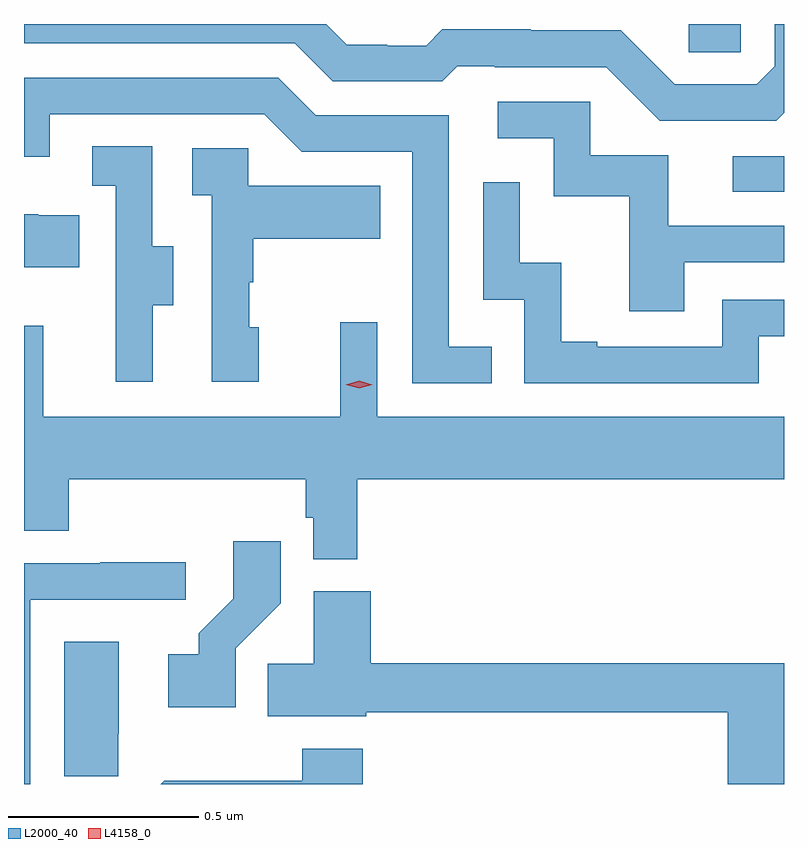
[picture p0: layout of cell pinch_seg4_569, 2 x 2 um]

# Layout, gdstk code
import gdstk
lib = gdstk.Library(unit=1e-6, precision=1e-09)
def R(c, l, rs):  # rectangles x0, y0, x1, y1
    for r in rs: c.add(gdstk.rectangle(r[:2], r[2:], *l))
def P(c, l, *ps):  # polygons
    for p in ps: c.add(gdstk.Polygon(p, *l))
L2000_40 = (2000, 40)
L4158_0 = (4158, 0)

pinch_seg4_569 = lib.new_cell('pinch_seg4_569')
R(pinch_seg4_569, L2000_40, [(1105.737,788.253,1105.872,788.346), (1105.621,788.62,1105.758,788.694)])
P(pinch_seg4_569, L2000_40, [(1105.872,788.46),(1105.872,788.694),(1105.848,788.694),(1105.848,788.583),(1105.8,788.535),(1105.584,788.535),(1105.442,788.677),(1105.206,788.677),(1105.206,788.68),(1104.973,788.68),(1104.931,788.637),(1104.828,788.637),(1104.828,788.64),(1104.721,788.64),(1104.667,788.694),(1103.872,788.694),(1103.872,788.643),(1104.585,788.643),(1104.684,788.544),(1104.973,788.544),(1105.012,788.583),(1105.111,788.583),(1105.111,788.58),(1105.404,788.58),(1105.545,788.439),(1105.851,788.439)],
  [(1105.103,787.845),(1104.99,787.845),(1104.99,788.454),(1104.64,788.454),(1104.541,788.553),(1103.872,788.553),(1103.872,788.345),(1103.94,788.345),(1103.94,788.457),(1104.504,788.457),(1104.603,788.358),(1104.894,788.358),(1104.894,787.749),(1105.103,787.749)],
  [(1105.609,788.067),(1105.872,788.067),(1105.872,788.163),(1105.567,788.163),(1105.567,788.349),(1105.362,788.349),(1105.362,788.49),(1105.119,788.49),(1105.119,788.394),(1105.266,788.394),(1105.266,788.241),(1105.465,788.241),(1105.465,787.938),(1105.609,787.938)],
  [(1104.211,787.954),(1104.265,787.954),(1104.265,788.109),(1104.21,788.109),(1104.21,788.372),(1104.051,788.372),(1104.051,788.269),(1104.114,788.269),(1104.114,787.965),(1104.113,787.965),(1104.113,787.752),(1104.211,787.752)],
  [(1104.49,787.896),(1104.465,787.896),(1104.465,788.015),(1104.475,788.015),(1104.475,788.129),(1104.809,788.129),(1104.809,788.269),(1104.462,788.269),(1104.462,788.367),(1104.315,788.367),(1104.315,788.243),(1104.366,788.243),(1104.366,787.752),(1104.49,787.752)],
  [(1105.806,787.872),(1105.872,787.872),(1105.872,787.968),(1105.71,787.968),(1105.71,787.845),(1105.381,787.845),(1105.381,787.858),(1105.286,787.858),(1105.286,788.066),(1105.176,788.066),(1105.176,788.278),(1105.08,788.278),(1105.08,787.968),(1105.188,787.968),(1105.188,787.749),(1105.806,787.749)],
  [(1104.017,788.191),(1103.909,788.191),(1103.909,788.194),(1103.872,788.194),(1103.872,788.054),(1104.017,788.054)],
  [(1104.749,787.496),(1105.872,787.496),(1105.872,787.66),(1104.801,787.66),(1104.801,787.909),(1104.704,787.909),(1104.704,787.66),(1103.923,787.66),(1103.923,787.9),(1103.872,787.9),(1103.872,787.36),(1103.99,787.36),(1103.99,787.496),(1104.613,787.496),(1104.613,787.395),(1104.633,787.395),(1104.633,787.286),(1104.749,787.286)],
  [(1104.429,787.051),(1104.548,787.17),(1104.548,787.333),(1104.423,787.333),(1104.423,787.181),(1104.332,787.091),(1104.332,787.036),(1104.252,787.036),(1104.252,786.896),(1104.429,786.896)],
  [(1103.889,787.179),(1104.298,787.179),(1104.298,787.278),(1104.073,787.278),(1104.073,787.275),(1103.872,787.275),(1103.872,786.694),(1103.889,786.694)],
  [(1105.872,787.012),(1104.785,787.012),(1104.785,787.201),(1104.635,787.201),(1104.635,787.01),(1104.514,787.01),(1104.514,786.872),(1104.772,786.872),(1104.772,786.883),(1105.724,786.883),(1105.724,786.694),(1105.872,786.694)],
  [(1104.12,786.826),(1104.121,786.826),(1104.121,787.069),(1103.978,787.069),(1103.978,786.715),(1104.12,786.715)],
  [(1104.764,786.787),(1104.604,786.787),(1104.604,786.703),(1104.241,786.703),(1104.232,786.694),(1104.764,786.694)])
P(pinch_seg4_569, L4158_0, [(1104.754,787.735),(1104.719,787.745),(1104.718,787.745),(1104.719,787.745),(1104.754,787.755),(1104.789,787.745),(1104.789,787.745),(1104.789,787.745)])

lib.write_gds('pinch_seg4_569.gds')
